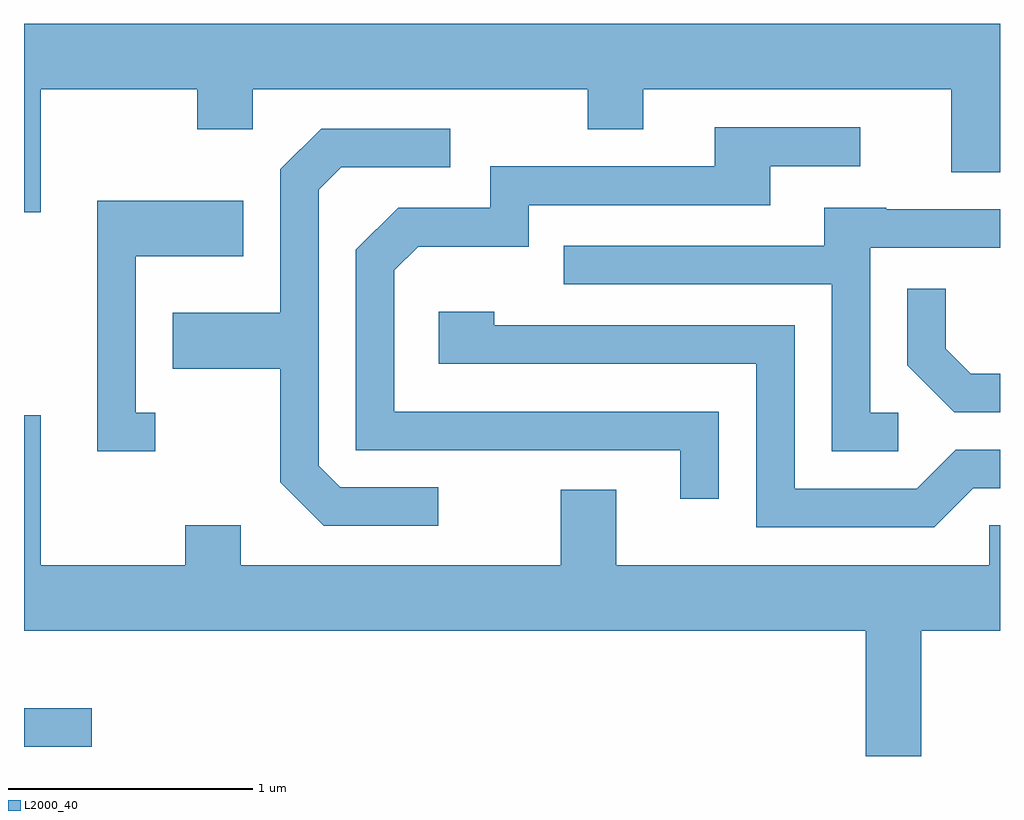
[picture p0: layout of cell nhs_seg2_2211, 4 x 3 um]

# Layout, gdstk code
import gdstk
lib = gdstk.Library(unit=1e-6, precision=1e-09)
def R(c, l, rs):  # rectangles x0, y0, x1, y1
    for r in rs: c.add(gdstk.rectangle(r[:2], r[2:], *l))
def P(c, l, *ps):  # polygons
    for p in ps: c.add(gdstk.Polygon(p, *l))
L2000_40 = (2000, 40)

nhs_seg2_2211 = lib.new_cell('nhs_seg2_2211')
R(nhs_seg2_2211, L2000_40, [(249.611,1047.841,249.888,1047.999)])
P(nhs_seg2_2211, L2000_40, [(249.679,1050.536),(250.321,1050.536),(250.321,1050.371),(250.549,1050.371),(250.549,1050.536),(251.921,1050.536),(251.921,1050.371),(252.149,1050.371),(252.149,1050.536),(253.411,1050.536),(253.411,1050.196),(253.611,1050.196),(253.611,1050.804),(249.611,1050.804),(249.611,1050.031),(249.679,1050.031)],
  [(252.459,1049.214),(251.129,1049.214),(251.129,1049.794),(251.227,1049.891),(251.679,1049.891),(251.679,1050.061),(252.669,1050.061),(252.669,1050.221),(253.038,1050.221),(253.038,1050.379),(252.441,1050.379),(252.441,1050.219),(251.521,1050.219),(251.521,1050.049),(251.144,1050.049),(250.971,1049.877),(250.971,1049.056),(252.301,1049.056),(252.301,1048.858),(252.459,1048.858)],
  [(251.308,1048.904),(250.907,1048.904),(250.819,1048.992),(250.819,1050.124),(250.912,1050.216),(251.358,1050.216),(251.358,1050.374),(250.829,1050.374),(250.661,1050.207),(250.661,1049.619),(250.221,1049.619),(250.221,1049.391),(250.661,1049.391),(250.661,1048.924),(250.839,1048.746),(251.308,1048.746)],
  [(250.148,1049.209),(250.069,1049.209),(250.069,1049.851),(250.509,1049.851),(250.509,1050.079),(249.911,1050.079),(249.911,1049.051),(250.148,1049.051)],
  [(253.193,1049.209),(253.079,1049.209),(253.079,1049.886),(253.611,1049.886),(253.611,1050.044),(253.145,1050.044),(253.145,1050.049),(252.891,1050.049),(252.891,1049.894),(251.823,1049.894),(251.823,1049.736),(252.921,1049.736),(252.921,1049.051),(253.193,1049.051)],
  [(253.611,1049.369),(253.492,1049.369),(253.389,1049.472),(253.389,1049.718),(253.231,1049.718),(253.231,1049.404),(253.424,1049.211),(253.611,1049.211)],
  [(253.502,1048.901),(253.611,1048.901),(253.611,1049.059),(253.429,1049.059),(253.269,1048.899),(252.769,1048.899),(252.769,1049.569),(251.539,1049.569),(251.539,1049.624),(251.311,1049.624),(251.311,1049.411),(252.611,1049.411),(252.611,1048.741),(253.342,1048.741)],
  [(253.289,1048.316),(253.611,1048.316),(253.611,1048.749),(253.566,1048.749),(253.566,1048.584),(252.039,1048.584),(252.039,1048.894),(251.811,1048.894),(251.811,1048.584),(250.499,1048.584),(250.499,1048.749),(250.271,1048.749),(250.271,1048.584),(249.679,1048.584),(249.679,1049.199),(249.611,1049.199),(249.611,1048.316),(253.061,1048.316),(253.061,1047.802),(253.289,1047.802)])

lib.write_gds('nhs_seg2_2211.gds')
